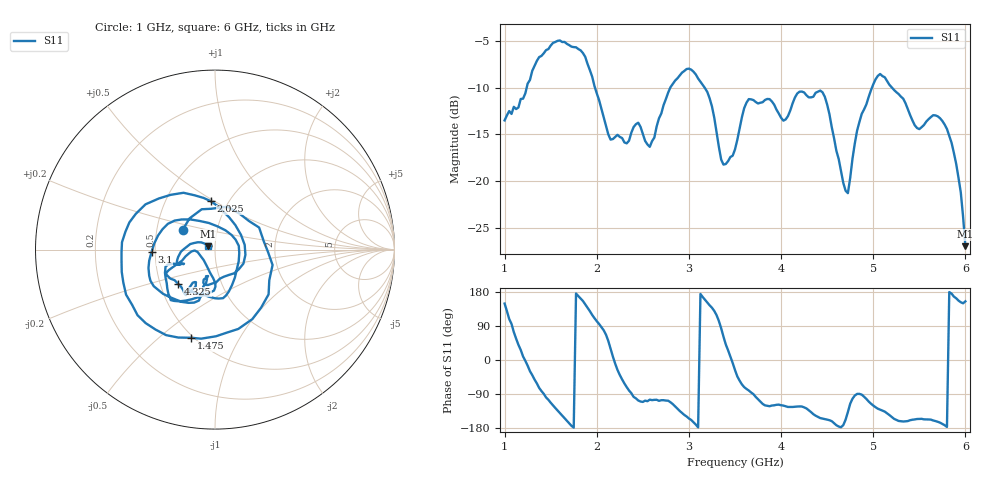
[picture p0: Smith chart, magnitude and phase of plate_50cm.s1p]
! SOL-corrected complex mean; no background subtraction; no window
# Hz S RI R 50
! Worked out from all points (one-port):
!   201 points, 1 GHz to 6 GHz, reference 50 ohm
!   lowest |S11| = -27.0 dB at 6 GHz (marker M1), VSWR 1.09, Z = 46.1 + j1.76 ohm
!   |S11| at or under -10 dB: 1.98 GHz to 2.798 GHz (817.8 MHz wide, 34.2 % of centre); 3.17 GHz to 4.987 GHz (1.816 GHz wide, 44.5 % of centre); 5.203 GHz to end of sweep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
!   S11 on the Smith chart (normalised r, x): 1 GHz: 0.68, +0.15; 1.475 GHz: 0.49, -0.65; 2.025 GHz: 0.83, +0.48; 3.1 GHz: 0.48, -0.01; 4.325 GHz: 0.62, -0.25; 6 GHz: 0.92, +0.04
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1e9  -0.1807 0.1089
1.1e9  0.0702 0.2393
1.25e9  0.3208 -0.0855
1.375e9  0.1299 -0.442
1.475e9  -0.1318 -0.4913
1.625e9  -0.4624 -0.3065
1.825e9  -0.4771 0.1515
2.025e9  -0.0241 0.27
2.25e9  0.1326 -0.1097
2.575e9  -0.0385 -0.1473
2.875e9  -0.2198 -0.2779
3.1e9  -0.3533 -0.0132
3.275e9  -0.1387 0.1683
3.375e9  0.0582 0.1075
3.5e9  0.1321 -0.0656
3.65e9  0.045 -0.2706
3.825e9  -0.1344 -0.2356
4.125e9  -0.1453 -0.2159
4.325e9  -0.2065 -0.1894
4.475e9  -0.2577 -0.1145
4.7e9  -0.0818 -0.0338
4.75e9  -0.0446 -0.0937
4.85e9  0.00224 -0.2068
5.05e9  -0.2274 -0.286
5.375e9  -0.2296 -0.0784
5.8e9  -0.1894 -0.0109
5.925e9  -0.0956 0.041
6e9  -0.0404 0.019
